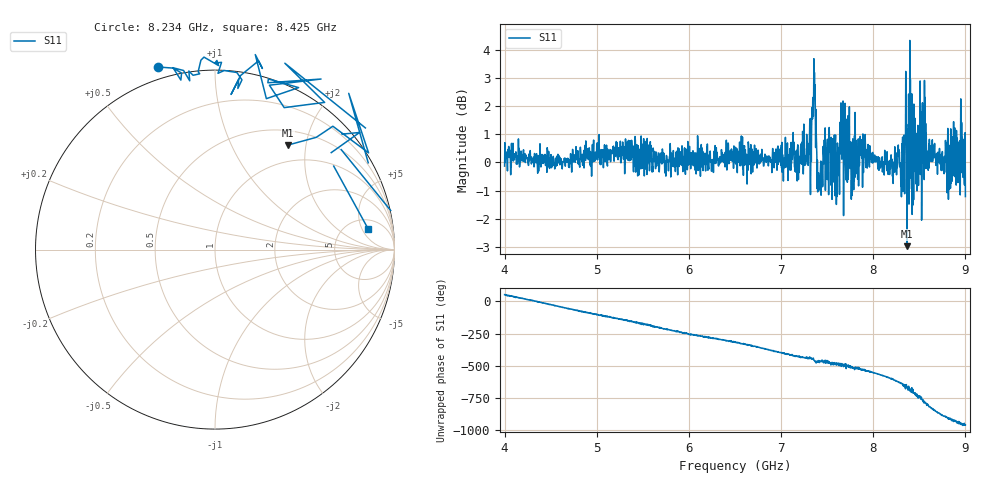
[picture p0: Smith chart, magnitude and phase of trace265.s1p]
! Created with skrf 1.8.0 (http://scikit-rf.org).
# Hz S RI R 50.0
!freq ReS11 ImS11
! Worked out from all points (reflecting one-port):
!   1601 points, 4 GHz to 9 GHz, reference 50 ohm
!   lowest |S11| = -3.0 dB at 8.366 GHz (marker M1), VSWR 5.90, Z = 35.8 + j84.2 ohm
!   phase of S11 starts at 53 deg and turns -1017 deg over the sweep
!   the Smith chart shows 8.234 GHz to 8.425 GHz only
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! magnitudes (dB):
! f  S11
! 4 GHz  -0.1
! 4.625 GHz  -0.2
! 5.25 GHz  0.2
! 5.875 GHz  0.0
! 6.5 GHz  0.3
! 7.125 GHz  0.3
! 7.297 GHz  0.6
! 7.356 GHz  3.7
! 7.412 GHz  -0.5
! 7.512 GHz  0.8
! 7.609 GHz  0.4
! 7.669 GHz  1.6
! 7.703 GHz  -0.6
! 7.75 GHz  -0.2
! 7.775 GHz  0.3
! 7.928 GHz  0.1
! 8.316 GHz  0.4
! 8.338 GHz  -0.3
! 8.347 GHz  0.9
! 8.366 GHz  -3.0
! 8.375 GHz  0.1
! 8.447 GHz  1.5
! 8.556 GHz  2.9
! 8.597 GHz  -0.3
! 8.819 GHz  -0.1
! 8.953 GHz  -0.4
! 8.972 GHz  -0.4
! 9 GHz  -1.2
